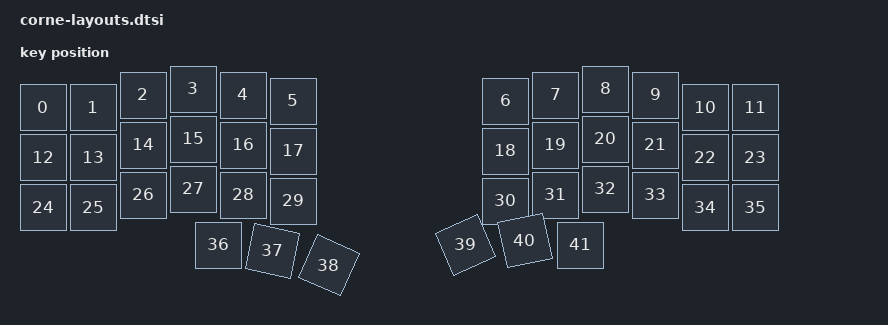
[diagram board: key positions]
#include <physical_layouts.dtsi>

/ {
    corne_layout: corne_layout {
        compatible = "zmk,physical-layout";
        display-name = "Corne Layout";
        transform = <&default_transform>;

        keys  //                     w   h    x    y     rot    rx    ry
            = <&key_physical_attrs 100 100    0   37       0     0     0>
            , <&key_physical_attrs 100 100  100   37       0     0     0>
            , <&key_physical_attrs 100 100  200   12       0     0     0>
            , <&key_physical_attrs 100 100  300    0       0     0     0>
            , <&key_physical_attrs 100 100  400   12       0     0     0>
            , <&key_physical_attrs 100 100  500   24       0     0     0>
            , <&key_physical_attrs 100 100  925   24       0     0     0>
            , <&key_physical_attrs 100 100 1025   12       0     0     0>
            , <&key_physical_attrs 100 100 1125    0       0     0     0>
            , <&key_physical_attrs 100 100 1225   12       0     0     0>
            , <&key_physical_attrs 100 100 1325   37       0     0     0>
            , <&key_physical_attrs 100 100 1425   37       0     0     0>
            , <&key_physical_attrs 100 100    0  137       0     0     0>
            , <&key_physical_attrs 100 100  100  137       0     0     0>
            , <&key_physical_attrs 100 100  200  112       0     0     0>
            , <&key_physical_attrs 100 100  300  100       0     0     0>
            , <&key_physical_attrs 100 100  400  112       0     0     0>
            , <&key_physical_attrs 100 100  500  124       0     0     0>
            , <&key_physical_attrs 100 100  925  124       0     0     0>
            , <&key_physical_attrs 100 100 1025  112       0     0     0>
            , <&key_physical_attrs 100 100 1125  100       0     0     0>
            , <&key_physical_attrs 100 100 1225  112       0     0     0>
            , <&key_physical_attrs 100 100 1325  137       0     0     0>
            , <&key_physical_attrs 100 100 1425  137       0     0     0>
            , <&key_physical_attrs 100 100    0  237       0     0     0>
            , <&key_physical_attrs 100 100  100  237       0     0     0>
            , <&key_physical_attrs 100 100  200  212       0     0     0>
            , <&key_physical_attrs 100 100  300  200       0     0     0>
            , <&key_physical_attrs 100 100  400  212       0     0     0>
            , <&key_physical_attrs 100 100  500  224       0     0     0>
            , <&key_physical_attrs 100 100  925  224       0     0     0>
            , <&key_physical_attrs 100 100 1025  212       0     0     0>
            , <&key_physical_attrs 100 100 1125  200       0     0     0>
            , <&key_physical_attrs 100 100 1225  212       0     0     0>
            , <&key_physical_attrs 100 100 1325  237       0     0     0>
            , <&key_physical_attrs 100 100 1425  237       0     0     0>
            , <&key_physical_attrs 100 100  350  312       0     0     0>
            , <&key_physical_attrs 100 100  450  312    1200   450   412>
            , <&key_physical_attrs 100 100  550  312    2400   515   433>
            , <&key_physical_attrs 100 100  875  312 (-2400)   910   433>
            , <&key_physical_attrs 100 100  975  312 (-1200)   975   412>
            , <&key_physical_attrs 100 100 1075  312       0     0     0>
            ;
    };
};
